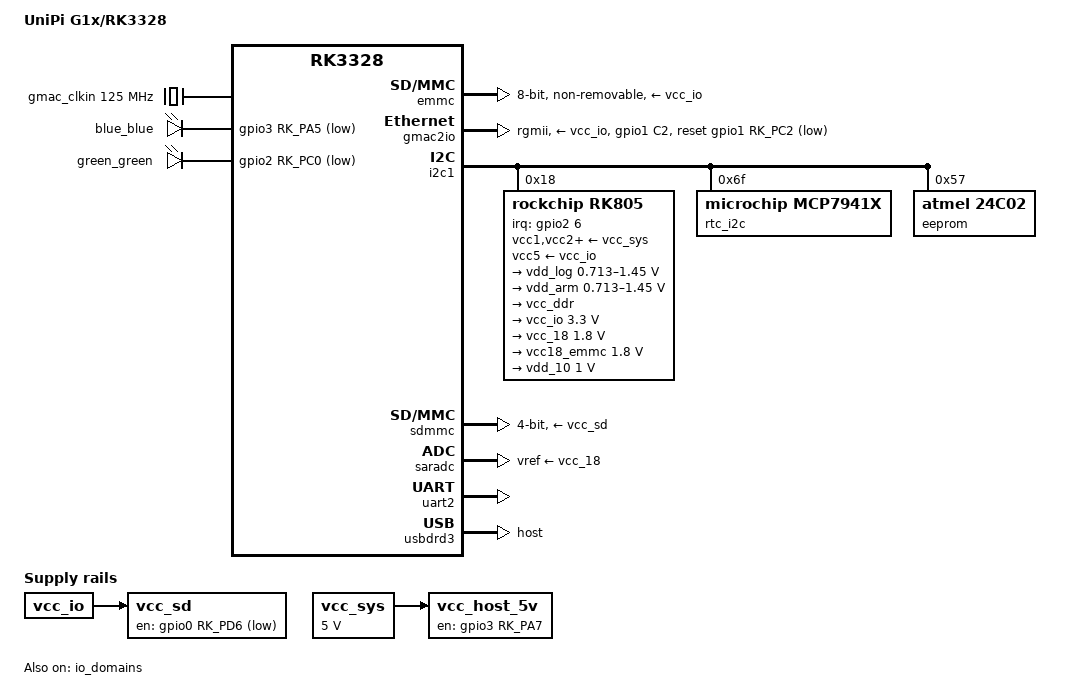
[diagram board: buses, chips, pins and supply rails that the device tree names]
// SPDX-License-Identifier: GPL-2.0+
/*
 * (C) Copyright 2021 Faster CZ, spol. s r.o.
 * (C) Copyright 2023 Unipi Technology s.r.o.
 */

/dts-v1/;
#include "rk3328.dtsi"

/ {
	model = "UniPi G1x/RK3328";
	compatible = "unipi,g1x", "rockchip,rk3328";

	chosen {
		stdout-path = "serial2:115200n8";
	};

	gmac_clkin: external-gmac-clock {
		compatible = "fixed-clock";
		clock-frequency = <125000000>;
		clock-output-names = "gmac_clkin";
		#clock-cells = <0>;
	};

	leds {
		compatible = "gpio-leds";
		pinctrl-0 = <&led_pin>;
		pinctrl-names = "default";

		blue-led {
			gpios = <&gpio3 RK_PA5 GPIO_ACTIVE_LOW>;
			label = "blue_blue";
			default-state = "on";
		};
		green-led {
			gpios = <&gpio2 RK_PC0 GPIO_ACTIVE_LOW>;
			label = "green_green";
			default-state = "on";
		};
	};

	vcc_sd: sdmmc-regulator {
		compatible = "regulator-fixed";
		gpio = <&gpio0 RK_PD6 GPIO_ACTIVE_LOW>;
		pinctrl-names = "default";
		pinctrl-0 = <&sdmmc0m1_pin>;
		regulator-name = "vcc_sd";
		regulator-boot-on;
		vin-supply = <&vcc_io>;
	};

	vcc_host_5v: vcc-host-5v-regulator {
		compatible = "regulator-fixed";
		gpio = <&gpio3 RK_PA7 GPIO_ACTIVE_HIGH>;
		pinctrl-0 = <&usb30_host_drv>;
		pinctrl-names = "default";
		enable-active-high;
		regulator-name = "vcc_host_5v";
//		regulator-always-on;
//		regulator-boot-on;
		vin-supply = <&vcc_sys>;
	};

	vcc_sys: vcc-sys {
		compatible = "regulator-fixed";
		regulator-name = "vcc_sys";
		regulator-always-on;
		regulator-boot-on;
		regulator-min-microvolt = <5000000>;
		regulator-max-microvolt = <5000000>;
	};

	bootcount@0 {
		compatible = "u-boot,bootcount-rtc";
		rtc = <&rtc_i2c>;
		offset = <0x20>;
	};
};

&cpu0 {
	cpu-supply = <&vdd_arm>;
};

&cpu1 {
	cpu-supply = <&vdd_arm>;
};

&cpu2 {
	cpu-supply = <&vdd_arm>;
};

&cpu3 {
	cpu-supply = <&vdd_arm>;
};

&emmc {
	bus-width = <8>;
	cap-mmc-highspeed;
	mmc-ddr-1_8v;
	mmc-hs200-1_8v;
	non-removable;
	pinctrl-names = "default";
	pinctrl-0 = <&emmc_clk>, <&emmc_cmd>, <&emmc_bus8>;
	vmmc-supply = <&vcc_io>;
	vqmmc-supply = <&vcc18_emmc>;
	status = "okay";
};

&gmac2io {
	assigned-clocks = <&cru SCLK_MAC2IO>, <&cru SCLK_MAC2IO_EXT>;
	assigned-clock-parents = <&gmac_clkin>, <&gmac_clkin>;
	clock_in_out = "input";
	phy-supply = <&vcc_io>;
	phy-mode = "rgmii";
	pinctrl-names = "default";
	pinctrl-0 = <&rgmiim1_pins>, <&eth_phy_reset_pin>;
	snps,force_thresh_dma_mode;
	snps,reset-gpio = <&gpio1 RK_PC2 GPIO_ACTIVE_LOW>;
	snps,reset-active-low;
	snps,reset-delays-us = <0 10000 50000>;
	tx_delay = <0x26>;
	rx_delay = <0x11>;
	status = "okay";
};

&i2c1 {
	//clock-frequency = <400000>;
	//i2c-scl-rising-time-ns = <168>;
	//i2c-scl-falling-time-ns = <4>;
	status = "okay";

	rk805: pmic@18 {
		compatible = "rockchip,rk805";
		reg = <0x18>;
		interrupt-parent = <&gpio2>;
		interrupts = <6 IRQ_TYPE_LEVEL_LOW>;
		#clock-cells = <1>;
		clock-output-names = "xin32k", "rk805-clkout2";
		gpio-controller;
		#gpio-cells = <2>;
		pinctrl-names = "default";
		pinctrl-0 = <&pmic_int_l>;
		rockchip,system-power-controller;
		wakeup-source;

		vcc1-supply = <&vcc_sys>;
		vcc2-supply = <&vcc_sys>;
		vcc3-supply = <&vcc_sys>;
		vcc4-supply = <&vcc_sys>;
		vcc5-supply = <&vcc_io>;
		vcc6-supply = <&vcc_sys>;

		regulators {
			vdd_log: DCDC_REG1 {
				regulator-name = "vdd_log";
				regulator-always-on;
				regulator-boot-on;
				regulator-min-microvolt = <712500>;
				regulator-max-microvolt = <1450000>;
				regulator-ramp-delay = <12500>;

				regulator-state-mem {
					regulator-on-in-suspend;
					regulator-suspend-microvolt = <1000000>;
				};
			};

			vdd_arm: DCDC_REG2 {
				regulator-name = "vdd_arm";
				regulator-always-on;
				regulator-boot-on;
				regulator-min-microvolt = <712500>;
				regulator-max-microvolt = <1450000>;
				regulator-ramp-delay = <12500>;

				regulator-state-mem {
					regulator-on-in-suspend;
					regulator-suspend-microvolt = <950000>;
				};
			};

			vcc_ddr: DCDC_REG3 {
				regulator-name = "vcc_ddr";
				regulator-always-on;
				regulator-boot-on;

				regulator-state-mem {
					regulator-on-in-suspend;
				};
			};

			vcc_io: DCDC_REG4 {
				regulator-name = "vcc_io";
				regulator-always-on;
				regulator-boot-on;
				regulator-min-microvolt = <3300000>;
				regulator-max-microvolt = <3300000>;

				regulator-state-mem {
					regulator-on-in-suspend;
					regulator-suspend-microvolt = <3300000>;
				};
			};

			vcc_18: LDO_REG1 {
				regulator-name = "vcc_18";
				regulator-always-on;
				regulator-boot-on;
				regulator-min-microvolt = <1800000>;
				regulator-max-microvolt = <1800000>;

				regulator-state-mem {
					regulator-on-in-suspend;
					regulator-suspend-microvolt = <1800000>;
				};
			};

			vcc18_emmc: LDO_REG2 {
				regulator-name = "vcc18_emmc";
				regulator-always-on;
				regulator-boot-on;
				regulator-min-microvolt = <1800000>;
				regulator-max-microvolt = <1800000>;

				regulator-state-mem {
					regulator-on-in-suspend;
					regulator-suspend-microvolt = <1800000>;
				};
			};

			vdd_10: LDO_REG3 {
				regulator-name = "vdd_10";
				regulator-always-on;
				regulator-boot-on;
				regulator-min-microvolt = <1000000>;
				regulator-max-microvolt = <1000000>;

				regulator-state-mem {
					regulator-on-in-suspend;
					regulator-suspend-microvolt = <1000000>;
				};
			};
		};
	};
	rtc_i2c: rtc@6f {
		compatible = "microchip,mcp7941x";
		reg = <0x6f>;
	};
	eeprom: eeprom@57 {
		compatible = "atmel,24c02";
		reg = <0x57>;
	};
};

&io_domains {
	pmuio-supply = <&vcc_io>;
	vccio1-supply = <&vcc_io>;
	vccio2-supply = <&vcc18_emmc>;
	vccio3-supply = <&vcc_io>;
	vccio4-supply = <&vcc_io>;
	vccio5-supply = <&vcc_io>;
	vccio6-supply = <&vcc_io>;
	status = "okay";
};

&pinctrl {
	ephy {
		eth_phy_int_pin: eth-phy-int-pin {
			rockchip,pins = <1 RK_PD0 RK_FUNC_GPIO &pcfg_pull_down>;
		};

		eth_phy_reset_pin: eth-phy-reset-pin {
			rockchip,pins = <1 RK_PC2 RK_FUNC_GPIO &pcfg_pull_down>;
		};
	};

	leds {
		led_pin: led-pin {
			rockchip,pins = <3 RK_PA5 RK_FUNC_GPIO &pcfg_pull_none>,
					<2 RK_PC0 RK_FUNC_GPIO &pcfg_pull_none>;
		};
	};

	pmic {
		pmic_int_l: pmic-int-l {
			rockchip,pins = <2 RK_PA6 RK_FUNC_GPIO &pcfg_pull_up>;
		};
	};

	usb3 {
		usb30_host_drv: usb30-host-drv {
			rockchip,pins = <3 RK_PA7 RK_FUNC_GPIO &pcfg_pull_none>;
		};
	};
};

&sdmmc {
	bus-width = <4>;
	cap-sd-highspeed;
	disable-wp;
	pinctrl-names = "default";
	pinctrl-0 = <&sdmmc0_clk>, <&sdmmc0_cmd>, <&sdmmc0_dectn>, <&sdmmc0_bus4>;
	vmmc-supply = <&vcc_sd>;
	status = "okay";
};

&saradc {
	vref-supply = <&vcc_18>;
	status = "okay";
};

&uart2 {
	status = "okay";
};

&uart2m1_xfer {
	rockchip,pins = <2 RK_PA0 1 &pcfg_pull_up>,
			<2 RK_PA1 1 &pcfg_pull_up>;
};

&usbdrd3 {
	dr_mode = "host";
	status = "okay";
};

